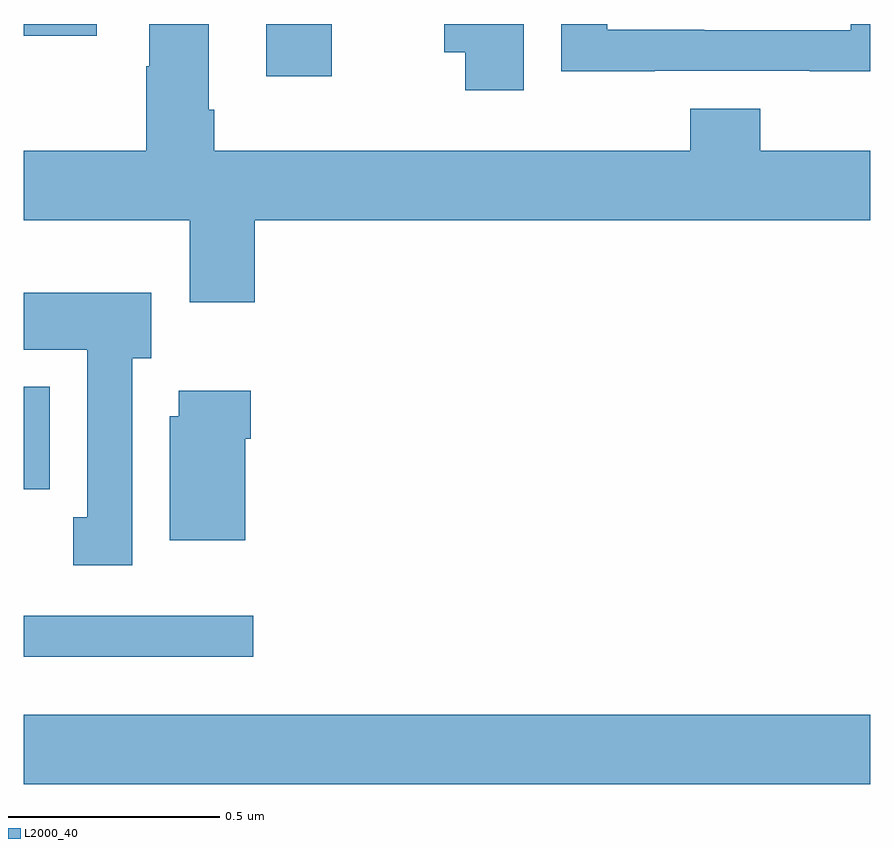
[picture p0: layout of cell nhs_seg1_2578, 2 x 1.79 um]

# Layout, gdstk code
import gdstk
lib = gdstk.Library(unit=1e-6, precision=1e-09)
def R(c, l, rs):  # rectangles x0, y0, x1, y1
    for r in rs: c.add(gdstk.rectangle(r[:2], r[2:], *l))
def P(c, l, *ps):  # polygons
    for p in ps: c.add(gdstk.Polygon(p, *l))
L2000_40 = (2000, 40)

nhs_seg1_2578 = lib.new_cell('nhs_seg1_2578')
R(nhs_seg1_2578, L2000_40, [(143,546.404,145,546.568), (143,546.704,143.542,546.801), (143,547.1,143.062,547.342), (143.573,548.076,143.728,548.199), (143,548.171,143.173,548.199)])
P(nhs_seg1_2578, L2000_40, [(143.437,547.996),(143.437,548.199),(143.297,548.199),(143.297,548.099),(143.29,548.099),(143.29,547.9),(143,547.9),(143,547.736),(143.393,547.736),(143.393,547.542),(143.546,547.542),(143.546,547.736),(145,547.736),(145,547.9),(144.74,547.9),(144.74,547.999),(144.575,547.999),(144.575,547.9),(143.45,547.9),(143.45,547.996)],
  [(144.181,548.199),(143.993,548.199),(143.993,548.132),(144.043,548.132),(144.043,548.043),(144.181,548.043)],
  [(144.491,548.088),(144.857,548.088),(144.857,548.087),(145,548.087),(145,548.199),(144.954,548.199),(144.954,548.184),(144.608,548.184),(144.608,548.185),(144.379,548.185),(144.379,548.199),(144.27,548.199),(144.27,548.087),(144.491,548.087)],
  [(143.257,547.41),(143.302,547.41),(143.302,547.564),(143,547.564),(143,547.43),(143.15,547.43),(143.15,547.034),(143.117,547.034),(143.117,546.921),(143.257,546.921)],
  [(143.524,547.22),(143.537,547.22),(143.537,547.333),(143.366,547.333),(143.366,547.272),(143.345,547.272),(143.345,546.98),(143.524,546.98)])

lib.write_gds('nhs_seg1_2578.gds')
